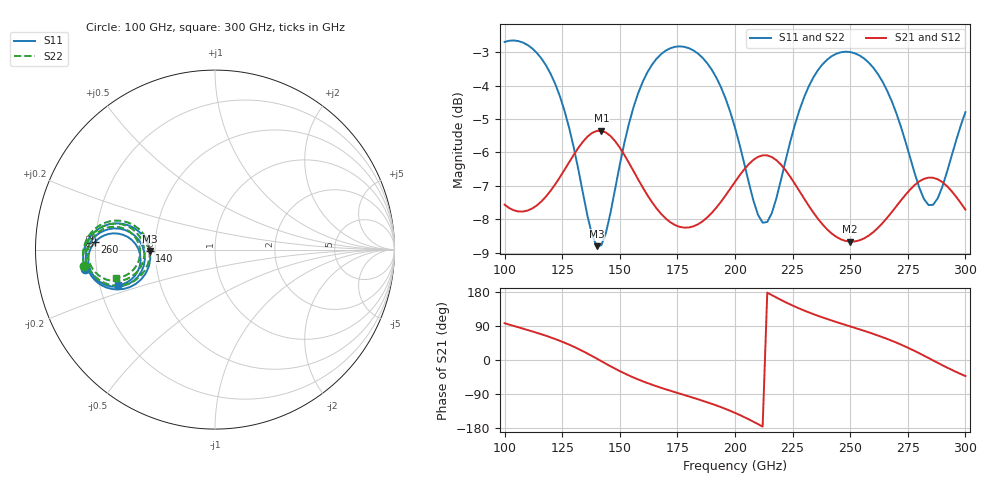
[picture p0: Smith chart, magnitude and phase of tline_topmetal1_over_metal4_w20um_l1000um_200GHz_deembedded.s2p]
! Created with skrf 2.0.1 (http://scikit-rf.org).
# GHz S DB R 50.0
!freq dBS11 angS11 dBS21 angS21 dBS12 angS12 dBS22 angS22
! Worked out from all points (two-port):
!   101 points, 100 GHz to 300 GHz, reference 50 ohm
!   highest |S21| = -5.35 dB at 142 GHz (marker M1); lowest = -8.7 dB at 250 GHz (marker M2)
!   |S21| within 3 dB of the highest: start of sweep to 240.8 GHz; 260.5 GHz to end of sweep
!   lowest |S11| = -8.8 dB at 140 GHz (marker M3), VSWR 2.14, Z = 23.4 - j0.394 ohm
!   |S11| at or under -10 dB: nowhere
!   |S22| runs from -8.8 to -2.7 dB; largest |S21 - S12| = 6.5e-14
!   S11 on the Smith chart (normalised r, x): 100 GHz: 0.15, -0.07; 140 GHz: 0.47, -0.01; 260 GHz: 0.20, +0.03; 300 GHz: 0.28, -0.16
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100  -2.70 -171.6  -7.56 97.0  -7.56 97.0  -2.70 -172.9
112  -2.89 176.9  -7.68 75.4  -7.68 75.4  -2.89 175.5
122  -3.96 168.1  -6.95 55.2  -6.95 55.2  -3.95 166.5
134  -7.21 166.6  -5.68 23.2  -5.68 23.2  -7.19 164.9
140  -8.80 -178.8  -5.36 3.6  -5.36 3.6  -8.76 179.3
142  -8.77 -172.0  -5.35 -3.2  -5.35 -3.2  -8.73 -174.0
148  -7.08 -158.1  -5.66 -23.1  -5.66 -23.1  -7.05 -160.3
154  -5.13 -156.7  -6.32 -40.9  -6.32 -40.9  -5.12 -159.0
168  -3.05 -167.8  -7.84 -73.5  -7.84 -73.5  -3.05 -170.2
184  -3.05 178.1  -8.15 -103.7  -8.15 -103.7  -3.05 175.4
200  -5.26 167.6  -6.88 -139.5  -6.88 -139.5  -5.26 164.8
208  -7.44 173.2  -6.22 -162.9  -6.22 -162.9  -7.44 170.3
214  -8.08 -172.2  -6.09 177.7  -6.09 177.7  -8.07 -175.2
224  -5.68 -158.3  -6.73 146.6  -6.73 146.6  -5.67 -161.5
234  -3.76 -162.8  -7.80 121.1  -7.80 121.1  -3.76 -166.1
250  -3.00 -175.7  -8.67 88.7  -8.67 88.7  -3.00 -179.3
260  -3.46 176.5  -8.38 68.9  -8.38 68.9  -3.47 172.8
268  -4.46 171.6  -7.79 50.9  -7.79 50.9  -4.46 167.8
276  -6.15 171.7  -7.11 29.7  -7.11 29.7  -6.15 167.8
284  -7.57 -176.4  -6.75 5.2  -6.75 5.2  -7.58 179.6
290  -7.02 -164.5  -6.89 -13.7  -6.89 -13.7  -7.03 -168.6
300  -4.80 -159.8  -7.71 -42.3  -7.71 -42.3  -4.80 -164.1
